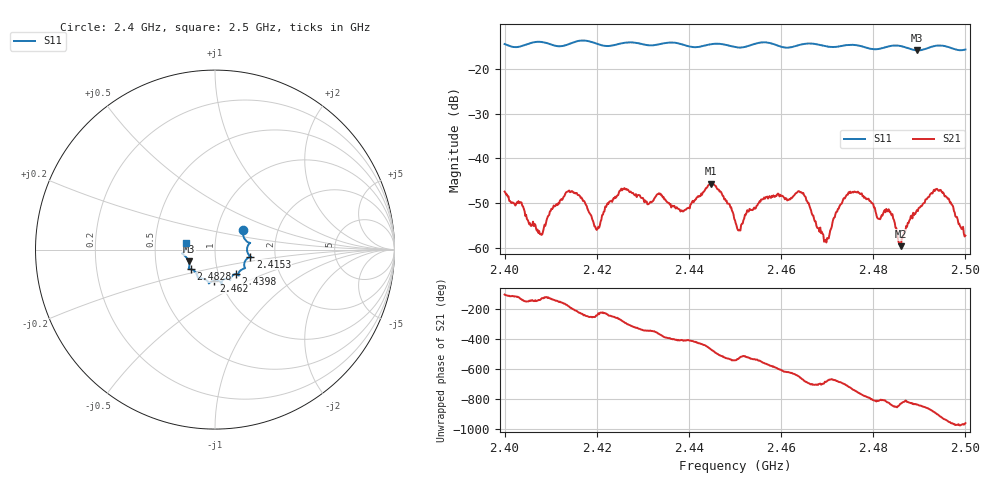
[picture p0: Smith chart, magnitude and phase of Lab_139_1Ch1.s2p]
# Hz S RI R 50
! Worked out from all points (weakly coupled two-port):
!   601 points, 2.4 GHz to 2.5 GHz, reference 50 ohm
!   highest |S21| = -45.59 dB at 2.4448 GHz (marker M1); lowest = -59.6 dB at 2.486 GHz (marker M2)
!   lowest |S11| = -15.9 dB at 2.4895 GHz (marker M3), VSWR 1.38, Z = 37 - j4.99 ohm
!   |S11| at or under -10 dB: start of sweep to end of sweep
!   S12 and S22 are empty: the file has one direction only
!   S11 on the Smith chart (normalised r, x): 2.4 GHz: 1.33, +0.29; 2.4153 GHz: 1.48, -0.12; 2.4398 GHz: 1.21, -0.34; 2.462 GHz: 0.93, -0.33; 2.4828 GHz: 0.74, -0.17; 2.5 GHz: 0.72, +0.06
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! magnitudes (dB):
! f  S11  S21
! 2.4 GHz  -14.5  -47.4
! 2.4078 GHz  -14.0  -56.9
! 2.4103 GHz  -14.7  -51.3
! 2.4153 GHz  -14.0  -47.8
! 2.4167 GHz  -13.7  -48.7
! 2.42 GHz  -14.4  -55.9
! 2.4255 GHz  -14.3  -47.1
! 2.4333 GHz  -14.6  -47.9
! 2.4398 GHz  -15.0  -51.0
! 2.4448 GHz  -14.5  -45.6
! 2.45 GHz  -15.1  -53.8
! 2.462 GHz  -15.2  -49.1
! 2.4643 GHz  -14.6  -47.5
! 2.4667 GHz  -14.4  -52.3
! 2.4698 GHz  -15.0  -58.8
! 2.475 GHz  -14.7  -47.4
! 2.4828 GHz  -15.1  -51.3
! 2.4833 GHz  -15.0  -51.3
! 2.486 GHz  -14.9  -59.6
! 2.4895 GHz  -15.9  -51.5
! 2.4943 GHz  -14.8  -47.2
! 2.5 GHz  -15.7  -57.2
